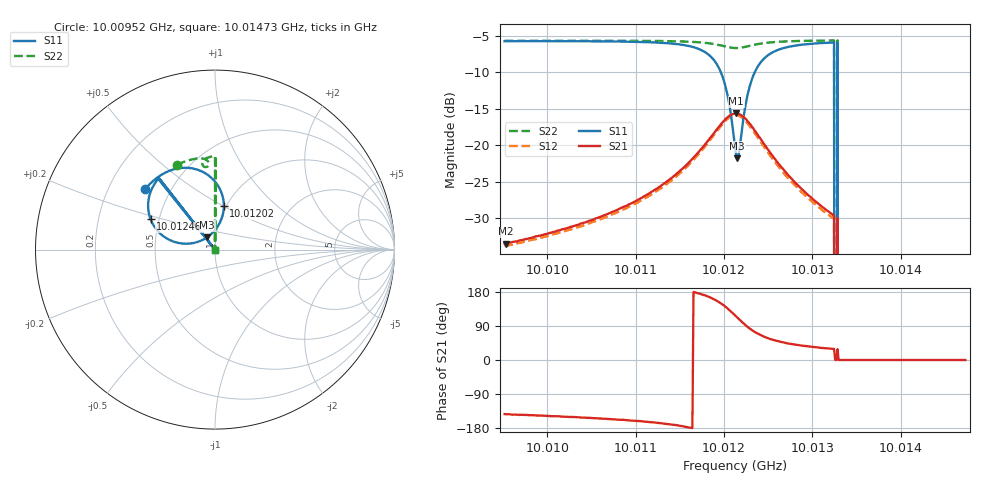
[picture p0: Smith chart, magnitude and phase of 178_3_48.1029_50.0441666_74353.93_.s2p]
#  HZ  S  RI  R  50.00
! Rohde & Schwarz Vector Network Analyzer
! Rohde-Schwarz,ZNB20-2Port,1311601062101988,3.16
! Created: UTC 12/23/2023, 3:52:29 AM
! freq[Hz]  re:S11  im:S11  re:S21  im:S21  re:S12  im:S12  re:S22  im:S22
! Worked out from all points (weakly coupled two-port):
!   401 points, 10.00952 GHz to 10.01473 GHz, reference 50 ohm
!   highest |S21| = -15.66 dB at 10.01214 GHz (marker M1); lowest = -33.5 dB at 10.00953 GHz (marker M2)
!   lowest |S11| = -21.8 dB at 10.01215 GHz (marker M3), VSWR 1.18, Z = 45.4 + j6.28 ohm
!   |S11| at or under -10 dB: 10.01196 GHz to 10.01235 GHz (384.6 kHz wide, 0.00384 % of centre); 10.01324 GHz to 10.01328 GHz (38.53 kHz wide, 0.000385 % of centre); 10.01328 GHz to end of sweep
!   |S22| runs from - to -5.7 dB; largest |S21 - S12| = 0.0086
!   S11 on the Smith chart (normalised r, x): 10.00952 GHz: 0.36, +0.33; 10.01202 GHz: 0.97, +0.50; 10.01246 GHz: 0.45, +0.18; 10.01473 GHz: 1.00, +0.00
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1.0009518e10  -0.3903 0.3357  -0.0169 -0.0129  -0.0156 -0.0131  -0.2106 0.4731
1.0009531e10  -0.3898 0.3366  -0.0169 -0.0127  -0.0158 -0.013  -0.2097 0.4737
1.0010391e10  -0.3354 0.3902  -0.0257 -0.0138  -0.024 -0.0144  -0.1562 0.4948
1.0011264e10  -0.2341 0.4459  -0.0501 -0.0124  -0.0477 -0.0144  -0.0946 0.508
1.0011798e10  -0.0539 0.4252  -0.1016 0.0189  -0.0995 0.0132  -0.0463 0.499
1.0011928e10  0.021 0.349  -0.118 0.0558  -0.1178 0.0481  -0.0359 0.4857
1.001202e10  0.0492 0.243  -0.1159 0.0974  -0.1172 0.0898  -0.0355 0.472
1.0012124e10  -0.0102 0.097  -0.077 0.1455  -0.0804 0.139  -0.048 0.46
1.0012137e10  -0.0263 0.0819  -0.0693 0.1496  -0.0732 0.1429  -0.0502 0.4596
1.001215e10  -0.0439 0.0687  -0.0615 0.1528  -0.0653 0.1462  -0.0524 0.4595
1.0012176e10  -0.082 0.0482  -0.0457 0.1561  -0.0496 0.1501  -0.0571 0.4602
1.0012293e10  -0.2511 0.0528  0.0183 0.1387  0.0129 0.1341  -0.0698 0.4745
1.0012463e10  -0.3591 0.1695  0.0491 0.087  0.0435 0.085  -0.0639 0.4969
1.0012997e10  -0.341 0.359  0.0354 0.0246  0.0326 0.0249  -0.0187 0.5186
1.0013218e10  -0.3187 0.391  0.0294 0.0167  0.0271 0.0173  -0.00152 0.5207
1.0013244e10  -0.3162 0.3938  0.0287 0.0159  0.0265 0.0166  0.000339 0.5208
1.0013257e10  0 0  0 0  0 0  0 0
1.0013283e10  -0.3125 0.3982  0.0279 0.0151  0.0257 0.0156  0.00326 0.5212
1.0013309e10  0 0  0 0  0 0  0 0
1.0013322e10  0 0  0 0  0 0  0 0
1.0013869e10  0 0  0 0  0 0  0 0
1.0014729e10  0 0  0 0  0 0  0 0
